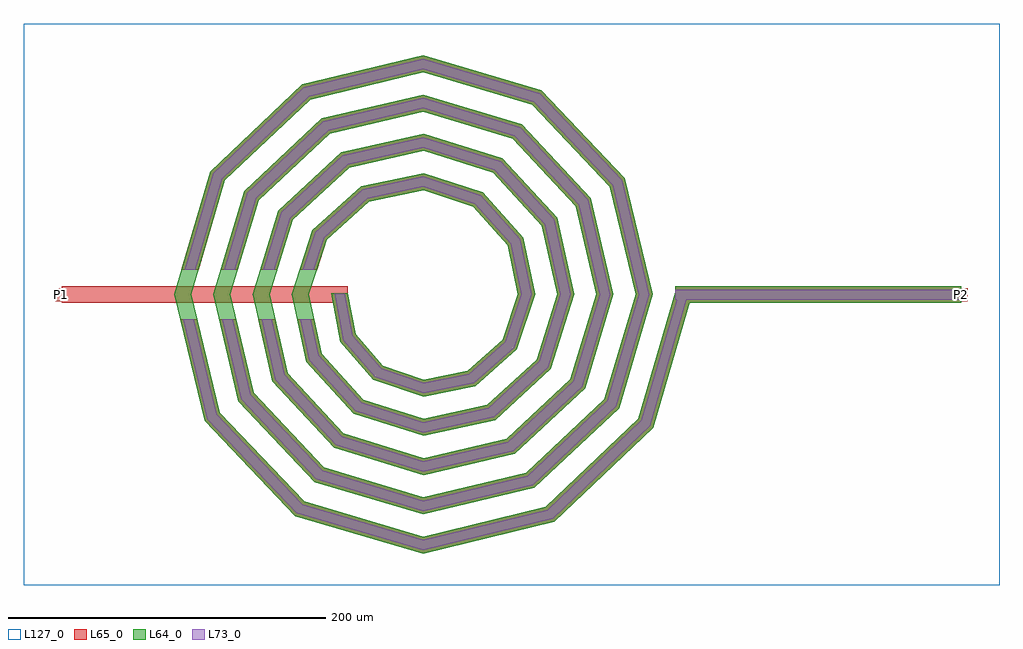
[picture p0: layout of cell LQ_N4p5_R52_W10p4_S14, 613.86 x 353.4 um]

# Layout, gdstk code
import gdstk
lib = gdstk.Library(unit=1e-6, precision=1e-09)
def R(c, l, rs):  # rectangles x0, y0, x1, y1
    for r in rs: c.add(gdstk.rectangle(r[:2], r[2:], *l))
def P(c, l, *ps):  # polygons
    for p in ps: c.add(gdstk.Polygon(p, *l))
L64_0 = (64, 0)
L65_0 = (65, 0)
L73_0 = (73, 0)
L127_0 = (127, 0)

lq_n4p5_r52_w10p4_s14 = lib.new_cell('LQ_N4p5_R52_W10p4_S14')
R(lq_n4p5_r52_w10p4_s14, L64_0, [(158.458,-5.2,338.458,5.2)])
P(lq_n4p5_r52_w10p4_s14, L64_0, [(-42.491,-24.968),(-25.354,-44.641),(0.351,-53.394),(28.019,-47.851),(49.965,-28.469),(59.562,0.318),(53.209,31.076),(31.578,55.293),(0.29,65.731),(-34.138,58.564),(-60.623,34.684),(-71.9,0.267),(-63.918,-37.203),(-37.786,-65.955),(0.247,-78.069),(40.272,-69.27),(71.289,-40.887),(84.238,0.23),(74.621,43.342),(43.985,76.625),(0.216,90.408),(-46.415,79.971),(-81.961,47.081),(-96.577,0.203),(-85.32,-49.489),(-50.177,-87.298),(0.191,-102.747),(52.564,-90.669),(92.636,-53.271),(108.917,0.181),(96.017,55.64),(56.364,97.974),(0.171,115.087),(-58.718,101.365),(-103.313,59.456),(-121.256,0.163),(-106.712,-61.795),(-62.548,-108.652),(0.156,-127.426),(64.874,-112.059),(113.992,-65.639),(133.596,0.149),(117.405,67.953),(68.73,119.332),(0.142,139.766),(-71.033,122.752),(-124.672,71.82),(-145.936,0.137),(-128.098,-74.113),(-74.909,-130.013),(0.131,-152.106),(77.193,-133.444),(135.354,-77.999),(158.668,1.464),(168.648,-1.464),(144.548,-83.602),(82.351,-142.895),(0.131,-162.87),(-80.522,-139.202),(-137.555,-79.262),(-156.7,0.137),(-133.856,77.441),(-76.172,132.214),(0.142,150.53),(74.362,128.509),(126.873,73.081),(144.359,0.149),(123.162,-71.282),(69.99,-121.533),(0.156,-138.189),(-68.203,-117.815),(-116.193,-66.899),(-132.019,0.163),(-112.468,65.125),(-63.807,110.854),(0.171,125.849),(62.047,107.12),(105.515,60.714),(119.678,0.181),(101.771,-58.97),(57.62,-100.176),(0.191,-113.508),(-55.894,-96.422),(-94.838,-54.525),(-107.338,0.203),(-91.073,52.819),(-51.429,89.5),(0.216,101.167),(49.746,85.722),(84.163,48.332),(94.997,0.23),(80.37,-46.674),(45.232,-78.828),(0.247,-88.826),(-43.604,-75.017),(-73.493,-42.131),(-82.655,0.267),(-69.663,40.537),(-39.026,68.16),(0.29,76.484),(37.472,64.306),(62.828,35.918),(70.313,0.318),(58.947,-34.412),(32.805,-57.499),(0.351,-64.141),(-31.357,-53.584),(-52.173,-29.686),(-57.703,0.984),(-47.491,0.984)])
R(lq_n4p5_r52_w10p4_s14, L65_0, [(-227.397,-5.2,-47.397,5.2), (158.458,-5.2,338.458,5.2), (-231.397,-4,-223.397,4), (334.458,-4,342.458,4)])
P(lq_n4p5_r52_w10p4_s14, L65_0, [(-128.098,-74.113),(-74.91,-130.013),(0.131,-152.106),(77.193,-133.444),(135.354,-77.999),(158.668,1.464),(168.648,-1.464),(144.548,-83.602),(82.351,-142.896),(0.131,-162.87),(-80.522,-139.202),(-137.555,-79.262),(-152.905,-15.6),(-142.207,-15.6)],
  [(-106.712,-61.796),(-62.548,-108.652),(0.156,-127.426),(64.874,-112.059),(113.992,-65.639),(133.596,0.149),(117.406,67.953),(68.73,119.332),(0.142,139.766),(-71.033,122.752),(-124.672,71.82),(-141.286,15.6),(-152.13,15.6),(-133.856,77.441),(-76.172,132.214),(0.142,150.53),(74.362,128.509),(126.873,73.081),(144.36,0.149),(123.162,-71.282),(69.99,-121.533),(0.156,-138.189),(-68.203,-117.815),(-116.193,-66.899),(-128.299,-15.6),(-117.614,-15.6)],
  [(-85.32,-49.489),(-50.177,-87.298),(0.191,-102.747),(52.564,-90.669),(92.636,-53.271),(108.917,0.181),(96.017,55.64),(56.364,97.974),(0.171,115.087),(-58.718,101.365),(-103.313,59.456),(-116.512,15.6),(-127.373,15.6),(-112.468,65.125),(-63.807,110.854),(0.171,125.849),(62.047,107.12),(105.515,60.714),(119.678,0.181),(101.771,-58.97),(57.62,-100.176),(0.191,-113.508),(-55.894,-96.422),(-94.838,-54.525),(-103.728,-15.6),(-93.061,-15.6)],
  [(-63.918,-37.203),(-37.787,-65.956),(0.247,-78.069),(40.272,-69.27),(71.289,-40.887),(84.238,0.23),(74.621,43.342),(43.985,76.625),(0.216,90.408),(-46.415,79.971),(-81.961,47.081),(-91.692,15.6),(-102.578,15.6),(-91.073,52.819),(-51.429,89.5),(0.216,101.167),(49.746,85.722),(84.163,48.332),(94.997,0.23),(80.37,-46.674),(45.232,-78.828),(0.247,-88.826),(-43.604,-75.017),(-73.493,-42.131),(-79.226,-15.6),(-68.586,-15.6)],
  [(-25.354,-44.642),(0.351,-53.394),(28.019,-47.851),(49.965,-28.469),(59.562,0.318),(53.209,31.076),(31.578,55.293),(0.29,65.731),(-34.138,58.564),(-60.623,34.684),(-66.78,15.6),(-77.708,15.6),(-69.663,40.537),(-39.026,68.16),(0.29,76.484),(37.472,64.306),(62.828,35.918),(70.313,0.318),(58.947,-34.412),(32.805,-57.499),(0.351,-64.141),(-31.357,-53.584),(-52.173,-29.686),(-57.703,0.984),(-47.491,0.984),(-42.491,-24.968)])
R(lq_n4p5_r52_w10p4_s14, L73_0, [(158.458,-3.2,338.458,3.2)])
P(lq_n4p5_r52_w10p4_s14, L73_0, [(-129.917,-75.103),(-75.989,-131.78),(0.081,-154.176),(78.185,-135.262),(137.122,-79.077),(160.587,0.901),(166.729,0.901),(142.78,-82.525),(81.359,-141.078),(0.081,-160.8),(-79.443,-137.435),(-135.736,-78.272),(-150.848,-15.6),(-144.265,-15.6)],
  [(-108.535,-62.777),(-63.636,-110.414),(0.096,-129.496),(65.858,-113.881),(115.756,-66.724),(135.666,0.092),(119.226,68.939),(69.813,121.097),(0.088,141.836),(-72.021,124.572),(-126.438,72.901),(-143.371,15.6),(-150.045,15.6),(-132.09,76.36),(-75.183,130.394),(0.088,148.46),(73.278,126.744),(125.053,72.095),(142.29,0.092),(121.399,-70.197),(69.007,-119.711),(0.096,-136.119),(-67.116,-116.053),(-114.37,-65.918),(-126.244,-15.6),(-119.668,-15.6)],
  [(-87.151,-50.457),(-51.276,-89.053),(0.118,-104.817),(53.536,-92.497),(94.393,-54.367),(110.986,0.111),(97.843,56.616),(57.457,99.733),(0.106,117.156),(-59.696,103.19),(-105.074,60.546),(-118.601,15.6),(-125.284,15.6),(-110.707,64.035),(-62.828,109.029),(0.106,123.779),(60.954,105.361),(103.688,59.738),(117.609,0.111),(100.015,-57.874),(56.648,-98.348),(0.118,-111.439),(-54.795,-94.668),(-93.007,-53.557),(-101.677,-15.6),(-95.112,-15.6)],
  [(-65.759,-38.151),(-38.905,-67.698),(0.152,-80.138),(41.226,-71.108),(73.036,-42),(86.307,0.142),(76.456,44.302),(45.093,78.374),(0.133,92.477),(-47.379,81.803),(-83.713,48.185),(-93.786,15.6),(-100.485,15.6),(-89.32,51.716),(-50.465,87.668),(0.133,99.098),(48.638,83.972),(82.328,47.372),(92.928,0.142),(78.624,-45.561),(44.278,-76.99),(0.152,-86.757),(-42.485,-73.275),(-71.652,-41.183),(-77.18,-15.6),(-70.632,-15.6)],
  [(-26.508,-46.361),(0.216,-55.46),(28.939,-49.707),(51.693,-29.612),(61.629,0.196),(55.059,32.007),(32.712,57.026),(0.179,67.799),(-35.078,60.409),(-62.362,35.81),(-68.882,15.6),(-75.607,15.6),(-67.924,39.411),(-38.086,66.314),(0.179,74.416),(36.339,62.573),(60.978,34.987),(68.245,0.196),(57.22,-33.269),(31.885,-55.644),(0.216,-62.074),(-30.202,-51.864),(-50.311,-28.779),(-55.739,0.606),(-49.455,0.606),(-44.353,-25.875)])
R(lq_n4p5_r52_w10p4_s14, L127_0, [(-251.397,-182.87,362.458,170.53)])
lq_n4p5_r52_w10p4_s14.add(gdstk.Label('P2', (338.458,0), layer=65, texttype=0))
lq_n4p5_r52_w10p4_s14.add(gdstk.Label('P1', (-227.397,0), layer=65, texttype=0))
lq_n4p5_r52_w10p4_s14.add(gdstk.Label('P2', (342.458,0), layer=145, texttype=0))
lq_n4p5_r52_w10p4_s14.add(gdstk.Label('P1', (-231.397,0), layer=145, texttype=0))

lib.write_gds('LQ_N4p5_R52_W10p4_S14.gds')
